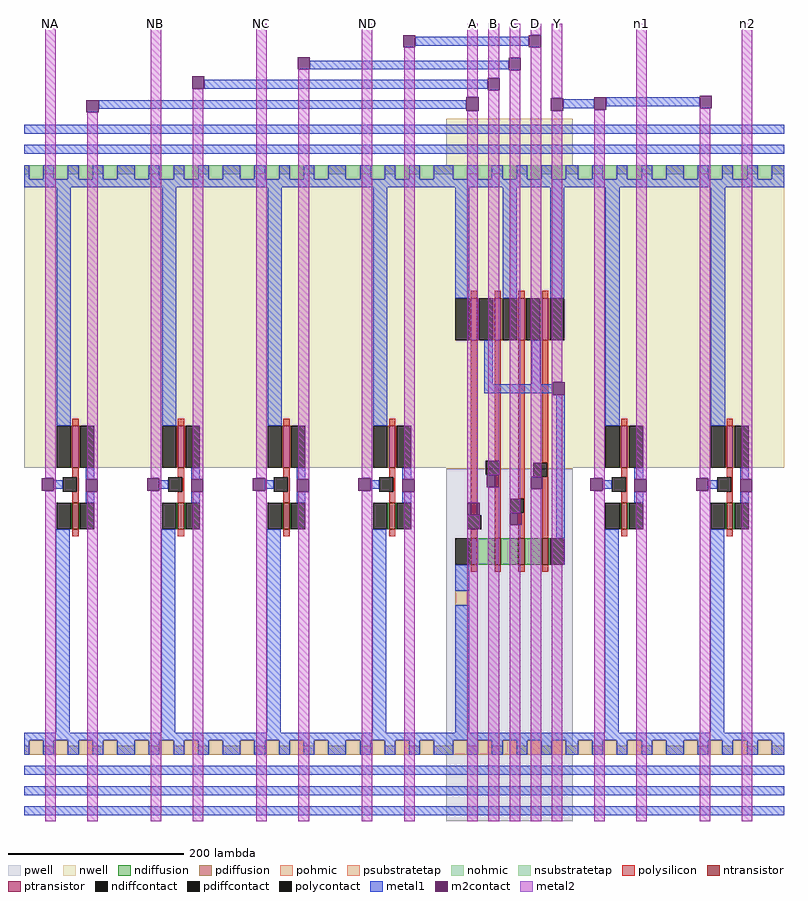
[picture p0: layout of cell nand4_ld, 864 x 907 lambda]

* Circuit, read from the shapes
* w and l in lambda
.subckt nand4_ld A B C D GND! NA NB NC ND Vdd! Y n1 n2
M1 A NA GND! VSUBS nfet w=30 l=7
M2 B NB GND! VSUBS nfet w=30 l=7
M3 C NC GND! VSUBS nfet w=30 l=7
M4 D ND GND! VSUBS nfet w=30 l=7
M5 n3 A n4 VSUBS nfet w=30 l=7
M6 n5 B n3 VSUBS nfet w=30 l=7
M7 n6 C n5 VSUBS nfet w=30 l=7
M8 Y D n6 VSUBS nfet w=30 l=7
M9 n1 Y GND! VSUBS nfet w=30 l=7
M10 n2 Y GND! VSUBS nfet w=30 l=7
M11 A NA Vdd! n7 pfet w=48 l=7
M12 B NB Vdd! n7 pfet w=48 l=7
M13 C NC Vdd! n7 pfet w=48 l=7
M14 D ND Vdd! n7 pfet w=48 l=7
M15 Y A Vdd! n7 pfet w=48 l=7
M16 Vdd! B Y n7 pfet w=48 l=7
M17 Y C Vdd! n7 pfet w=48 l=7
M18 Vdd! D Y n7 pfet w=48 l=7
M19 n1 Y Vdd! n7 pfet w=48 l=7
M20 n2 Y Vdd! n7 pfet w=48 l=7
.ends

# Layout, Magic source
magic
tech c035u
<< metal1 >>
rect 445 882 574 892
rect 325 855 551 865
rect 205 833 527 843
rect 85 810 503 820
rect 613 811 648 821
rect 662 813 768 823
<< m2contact >>
rect 431 880 445 894
rect 574 880 588 894
rect 311 855 325 869
rect 551 854 565 868
rect 191 833 205 847
rect 527 831 541 845
rect 71 806 85 820
rect 503 808 517 823
rect 599 808 613 822
rect 648 809 662 823
rect 768 811 782 825
<< metal2 >>
rect 24 799 36 907
rect 72 799 84 806
rect 144 799 156 907
rect 192 799 204 833
rect 264 799 276 907
rect 312 799 324 855
rect 384 799 396 907
rect 432 799 444 880
rect 504 823 516 907
rect 528 845 540 907
rect 552 868 564 907
rect 576 894 588 907
rect 504 799 516 808
rect 528 799 540 831
rect 552 799 564 854
rect 576 799 588 880
rect 600 822 612 907
rect 600 799 612 808
rect 648 799 660 809
rect 696 799 708 907
rect 768 799 780 811
rect 816 799 828 907
use inv inv_0
transform 1 0 0 0 1 0
box 0 0 120 799
use inv inv_1
transform 1 0 120 0 1 0
box 0 0 120 799
use inv inv_2
transform 1 0 240 0 1 0
box 0 0 120 799
use inv inv_3
transform 1 0 360 0 1 0
box 0 0 120 799
use nand4 nand4_0
transform 1 0 480 0 1 0
box 0 0 144 799
use inv inv_4
transform 1 0 624 0 1 0
box 0 0 120 799
use inv inv_5
transform 1 0 744 0 1 0
box 0 0 120 799
<< labels >>
rlabel metal2 24 907 36 907 5 NA
rlabel metal2 144 907 156 907 5 NB
rlabel metal2 264 907 276 907 5 NC
rlabel metal2 384 907 396 907 5 ND
rlabel metal2 504 907 516 907 5 A
rlabel metal2 528 907 540 907 5 B
rlabel metal2 552 907 564 907 5 C
rlabel metal2 576 907 588 907 5 D
rlabel metal2 600 907 612 907 5 Y
rlabel metal2 696 907 708 907 5 n1
rlabel metal2 816 907 828 907 5 n2
<< end >>

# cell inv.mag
magic
tech c035u
<< nwell >>
rect 0 402 120 746
<< polysilicon >>
rect 55 450 62 458
rect 55 391 62 402
rect 60 375 62 391
rect 55 362 62 375
rect 55 324 62 332
<< ndiffusion >>
rect 53 332 55 362
rect 62 332 64 362
<< pdiffusion >>
rect 53 402 55 450
rect 62 402 64 450
<< pohmic >>
rect 0 76 6 86
rect 22 76 34 86
rect 50 76 62 86
rect 78 76 90 86
rect 106 76 120 86
<< nohmic >>
rect 0 736 6 746
rect 22 736 34 746
rect 50 736 62 746
rect 78 736 90 746
rect 106 736 120 746
<< ntransistor >>
rect 55 332 62 362
<< ptransistor >>
rect 55 402 62 450
<< polycontact >>
rect 44 375 60 391
<< ndiffcontact >>
rect 37 332 53 362
rect 64 332 80 362
<< pdiffcontact >>
rect 37 402 53 450
rect 64 402 80 450
<< psubstratetap >>
rect 6 76 22 92
rect 34 76 50 92
rect 62 76 78 92
rect 90 76 106 92
<< nsubstratetap >>
rect 6 730 22 746
rect 34 730 50 746
rect 62 730 78 746
rect 90 730 106 746
<< metal1 >>
rect 0 782 120 792
rect 0 759 120 769
rect 0 730 6 746
rect 22 730 34 746
rect 50 730 62 746
rect 78 730 90 746
rect 106 730 120 746
rect 0 721 120 730
rect 37 450 53 721
rect 34 378 44 388
rect 70 389 80 402
rect 70 362 80 375
rect 36 101 52 332
rect 0 92 120 101
rect 0 76 6 92
rect 22 76 34 92
rect 50 76 62 92
rect 78 76 90 92
rect 106 76 120 92
rect 0 53 120 63
rect 0 30 120 40
rect 0 7 120 17
<< m2contact >>
rect 20 376 34 390
rect 70 375 84 389
<< metal2 >>
rect 24 390 36 799
rect 34 376 36 390
rect 72 389 84 799
rect 24 0 36 376
rect 72 0 84 375
<< labels >>
rlabel metal1 0 721 0 746 7 Vdd!
rlabel metal1 0 759 0 769 7 Scan
rlabel metal1 0 782 0 792 6 ScanReturn
rlabel metal1 120 721 120 746 7 Vdd!
rlabel metal1 120 759 120 769 7 Scan
rlabel metal1 120 782 120 792 6 ScanReturn
rlabel metal2 24 799 36 799 5 A
rlabel metal2 72 799 84 799 5 Y
rlabel metal1 0 76 0 101 7 GND!
rlabel metal1 0 53 0 63 7 Clock
rlabel metal1 0 30 0 40 7 Test
rlabel metal1 0 7 0 17 8 nReset
rlabel metal1 120 7 120 17 8 nReset
rlabel metal1 120 30 120 40 7 Test
rlabel metal1 120 53 120 63 7 Clock
rlabel metal1 120 76 120 101 7 GND!
rlabel metal2 24 0 36 0 1 A
rlabel metal2 72 0 84 0 1 Y
<< end >>

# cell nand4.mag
magic
tech c035u
<< nwell >>
rect 0 401 144 799
<< pwell >>
rect 0 0 144 401
<< polysilicon >>
rect 28 595 35 603
rect 55 595 62 603
rect 82 595 89 603
rect 109 595 116 603
rect 28 348 35 547
rect 55 410 62 547
rect 61 394 62 410
rect 28 322 35 332
rect 55 322 62 394
rect 82 367 89 547
rect 109 408 116 547
rect 115 392 116 408
rect 108 378 116 392
rect 88 351 89 367
rect 81 337 89 351
rect 82 322 89 337
rect 109 322 116 378
rect 28 284 35 292
rect 55 284 62 292
rect 82 284 89 292
rect 109 284 116 292
<< ndiffusion >>
rect 26 292 28 322
rect 35 292 55 322
rect 62 292 82 322
rect 89 292 109 322
rect 116 292 118 322
<< pdiffusion >>
rect 26 547 28 595
rect 35 547 37 595
rect 53 547 55 595
rect 62 547 64 595
rect 80 547 82 595
rect 89 547 91 595
rect 107 547 109 595
rect 116 547 118 595
<< pohmic >>
rect 0 76 8 86
rect 24 76 36 86
rect 52 76 64 86
rect 80 76 92 86
rect 108 76 120 86
rect 136 76 144 86
<< nohmic >>
rect 0 736 8 746
rect 24 736 36 746
rect 52 736 64 746
rect 80 736 92 746
rect 108 736 120 746
rect 136 736 144 746
<< ntransistor >>
rect 28 292 35 322
rect 55 292 62 322
rect 82 292 89 322
rect 109 292 116 322
<< ptransistor >>
rect 28 547 35 595
rect 55 547 62 595
rect 82 547 89 595
rect 109 547 116 595
<< polycontact >>
rect 45 394 61 410
rect 24 332 40 348
rect 99 392 115 408
rect 72 351 88 367
<< ndiffcontact >>
rect 10 292 26 322
rect 118 292 134 322
<< pdiffcontact >>
rect 10 547 26 595
rect 37 547 53 595
rect 64 547 80 595
rect 91 547 107 595
rect 118 547 134 595
<< psubstratetap >>
rect 10 246 26 262
rect 8 76 24 92
rect 36 76 52 92
rect 64 76 80 92
rect 92 76 108 92
rect 120 76 136 92
<< nsubstratetap >>
rect 8 730 24 746
rect 36 730 52 746
rect 64 730 80 746
rect 92 730 108 746
rect 120 730 136 746
<< metal1 >>
rect 0 782 144 792
rect 0 759 144 769
rect 0 730 8 746
rect 24 730 36 746
rect 52 730 64 746
rect 80 730 92 746
rect 108 730 120 746
rect 136 730 144 746
rect 0 721 144 730
rect 10 595 26 721
rect 64 595 80 721
rect 118 595 134 721
rect 43 497 53 547
rect 97 497 107 547
rect 43 487 121 497
rect 125 322 135 485
rect 134 292 135 322
rect 10 262 26 292
rect 10 101 26 246
rect 0 92 144 101
rect 0 76 8 92
rect 24 76 36 92
rect 52 76 64 92
rect 80 76 92 92
rect 108 76 120 92
rect 136 76 144 92
rect 0 53 144 63
rect 0 30 144 40
rect 0 7 144 17
<< m2contact >>
rect 121 485 135 499
rect 46 380 60 394
rect 96 378 110 392
rect 24 348 38 362
rect 72 337 86 351
<< metal2 >>
rect 24 595 36 799
rect 24 547 37 595
rect 24 362 36 547
rect 48 410 60 799
rect 48 394 61 410
rect 24 332 38 348
rect 24 0 36 332
rect 48 0 60 380
rect 72 351 84 799
rect 96 595 108 799
rect 96 547 109 595
rect 96 392 108 547
rect 120 499 132 799
rect 120 485 121 499
rect 72 0 84 337
rect 96 0 108 378
rect 120 322 132 485
rect 120 292 134 322
rect 120 0 132 292
<< labels >>
rlabel metal1 0 76 0 101 3 GND!
rlabel metal1 0 7 0 17 2 nReset
rlabel metal1 144 7 144 17 8 nReset
rlabel metal1 0 30 0 40 3 Test
rlabel metal1 144 30 144 40 7 Test
rlabel metal1 0 53 0 63 3 Clock
rlabel metal1 144 53 144 63 7 Clock
rlabel metal2 48 0 60 0 1 B
rlabel metal2 24 0 36 0 1 A
rlabel metal2 72 0 84 0 1 C
rlabel metal2 96 0 108 0 1 D
rlabel metal2 120 0 132 0 1 Y
rlabel metal1 144 721 144 746 7 Vdd!
rlabel metal1 0 721 0 746 3 Vdd!
rlabel metal1 144 759 144 769 7 Scan
rlabel metal1 0 759 0 769 3 Scan
rlabel metal1 0 782 0 792 4 ScanReturn
rlabel metal1 144 782 144 792 6 ScanReturn
rlabel metal2 24 799 36 799 5 A
rlabel metal2 48 799 60 799 5 B
rlabel metal2 72 799 84 799 5 C
rlabel metal2 96 799 108 799 5 D
rlabel metal2 120 799 132 799 5 Y
rlabel metal1 144 76 144 101 7 GND!
<< end >>
